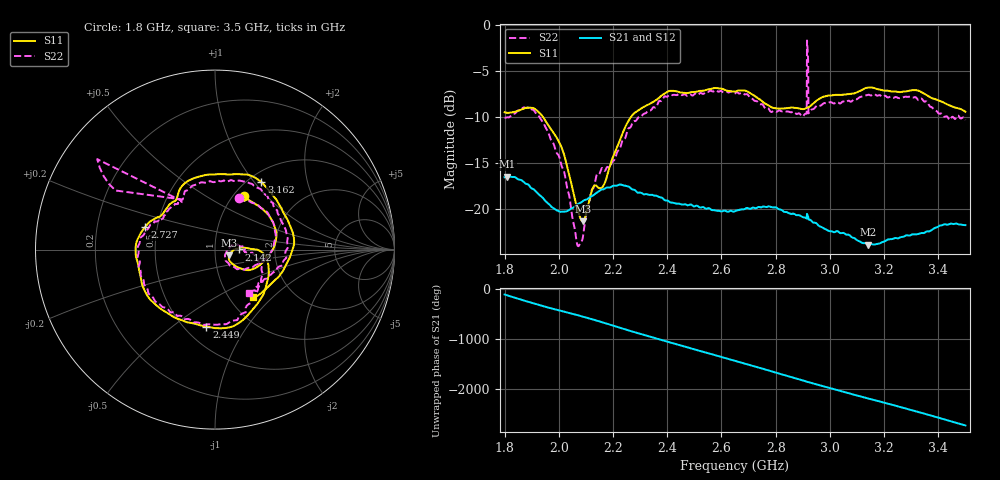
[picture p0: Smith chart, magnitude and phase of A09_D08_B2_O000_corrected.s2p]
! Created with skrf 1.9.0 (http://scikit-rf.org).
# Hz S RI R 50.0
!freq ReS11 ImS11 ReS21 ImS21 ReS12 ImS12 ReS22 ImS22
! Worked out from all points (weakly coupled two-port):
!   1601 points, 1.8 GHz to 3.5 GHz, reference 50 ohm
!   highest |S21| = -16.44 dB at 1.811 GHz (marker M1); lowest = -23.9 dB at 3.142 GHz (marker M2)
!   lowest |S11| = -21.3 dB at 2.089 GHz (marker M3), VSWR 1.19, Z = 58.6 - j3.62 ohm
!   |S11| at or under -10 dB: 1.942 GHz to 2.265 GHz (322.9 MHz wide, 15.3 % of centre)
!   |S22| runs from -24.0 to -1.6 dB; largest |S21 - S12| = 0.003
!   S11 on the Smith chart (normalised r, x): 1.8 GHz: 1.12, +0.75; 2.142 GHz: 1.31, +0.00; 2.449 GHz: 0.64, -0.67; 2.727 GHz: 0.43, +0.13; 3.162 GHz: 1.14, +1.09; 3.5 GHz: 1.28, -0.76
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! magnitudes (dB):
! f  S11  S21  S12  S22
! 1.8 GHz  -9.5  -16.5  -16.5  -10.0
! 1.811 GHz  -9.5  -16.4  -16.4  -10.0
! 1.886 GHz  -9.0  -17.3  -17.4  -8.9
! 1.94 GHz  -9.9  -18.7  -18.7  -10.5
! 2.011 GHz  -13.4  -20.3  -20.3  -15.4
! 2.067 GHz  -19.7  -19.5  -19.5  -23.7
! 2.084 GHz  -21.2  -19.2  -19.2  -23.5
! 2.089 GHz  -21.3  -19.1  -19.1  -23.0
! 2.142 GHz  -17.5  -18.2  -18.2  -16.2
! 2.168 GHz  -17.3  -17.8  -17.8  -15.8
! 2.265 GHz  -10.0  -17.7  -17.7  -11.1
! 2.367 GHz  -7.9  -18.6  -18.6  -8.4
! 2.449 GHz  -7.3  -19.5  -19.5  -7.5
! 2.65 GHz  -7.2  -20.2  -20.2  -7.4
! 2.727 GHz  -7.8  -19.9  -19.9  -8.2
! 2.901 GHz  -9.1  -20.9  -20.9  -9.9
! 2.924 GHz  -8.8  -21.1  -21.1  -9.5
! 2.934 GHz  -8.6  -21.3  -21.3  -9.1
! 3.142 GHz  -6.8  -23.9  -23.8  -7.5
! 3.162 GHz  -6.8  -23.9  -23.8  -7.5
! 3.217 GHz  -7.1  -23.3  -23.3  -7.8
! 3.5 GHz  -9.4  -21.7  -21.7  -10.3
